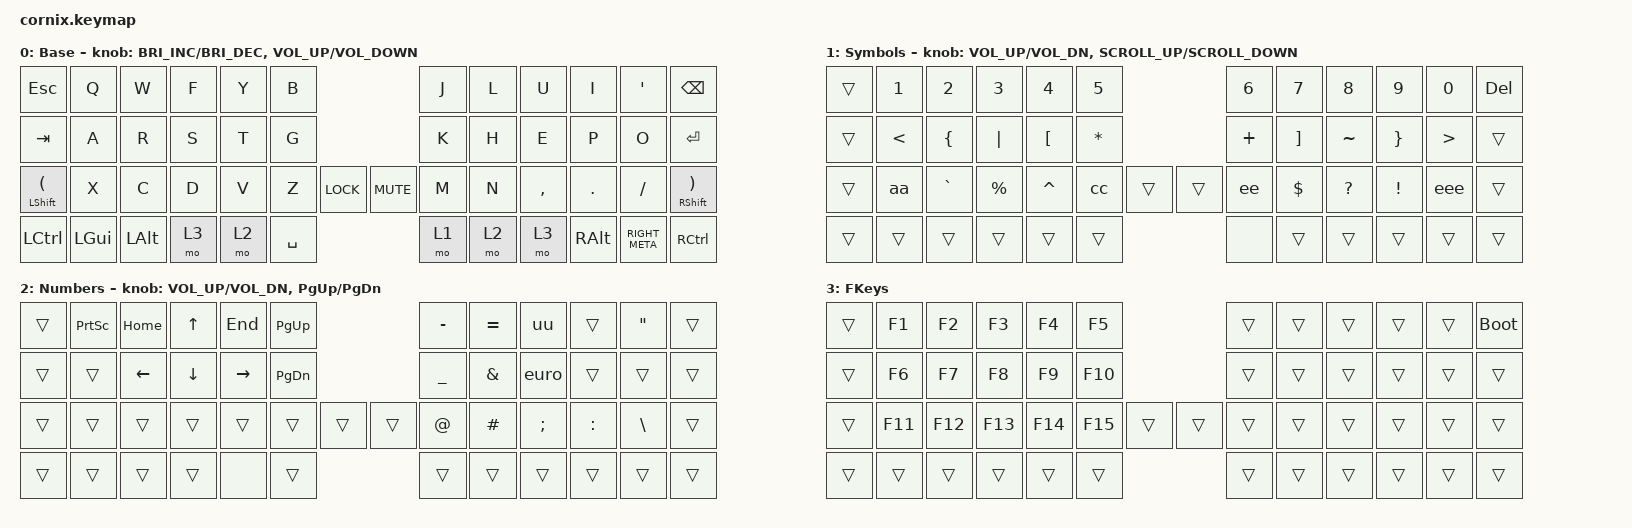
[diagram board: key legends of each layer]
/*
 * Copyright (c) 2020 The ZMK Contributors
 *
 * SPDX-License-Identifier: MIT
 */

#include "zmk-helpers/helper.h"
#include "includes/cornix54.h"

// tap windows for ctl alt and gui

#define HM_TAPPING_TERM 250
#define HM_TAPPING_REPEAT 210

// quick tapping for shift

#define HM_TAPPING_TERM_FAST 200
#define HM_PRIOR_IDLE 70
#define BASE 0
#define WIN 1
#define LOWER 2
#define RAISE 3
#define ADJUST 4
#define NAVI   5
#define NUM    6
#define DEBUG  7

// https://github.com/urob/zmk-config/tree/main#timeless-homerow-mods

#define KEYS_L LT0 LT1 LT2 LT3 LT4 LT5 LM0 LM1 LM2 LM3 LM4 LM5 LB0 LB1 LB2 LB3 LB4 LB5  // left hand
#define KEYS_R RT0 RT1 RT2 RT3 RT4 RT5 RM0 RM1 RM2 RM3 RM4 RM5 RB0 RB1 RB2 RB3 RB4 RB5  // right hand
#define THUMBS LH1 LH0 RH0 RH1
#define KEYS_T LH1 LH0 RH0 RH1
#define ZMK_POINTING_DEFAULT_SCRL_VAL 15

#include <behaviors.dtsi>
#include <dt-bindings/zmk/keys.h>

/ {
    // Activate ADJUST layer by pressing raise and lower

    behaviors {
        // Positional Homerow mods for shift
        // Use faster tapping term and disable some features that may
        // cause false negatives.
        /*
         * Non-Positional Homerow Mods
         * Used for &mm_grescm_gui behavior on left hand.
         *
         * Usage: &hm LSHFT T
         * Tap: T
         * Tap-Tap-Hold: Repeat T
         * Hold: LSHIFT
         */
    };

    conditional_layers { compatible = "zmk,conditional-layers"; };

    combos { compatible = "zmk,combos"; };

    macros {
        aa: aa {
            compatible = "zmk,behavior-macro";
            #binding-cells = <0>;
            bindings =
                <&macro_press>,
                <&kp LEFT_ALT>,
                <&macro_tap>,
                <&kp NUMBER_1 &kp NUMBER_3 &kp NUMBER_3>,
                <&macro_release>,
                <&kp LEFT_ALT>;

            label = "AA";
        };

        cc: cc {
            compatible = "zmk,behavior-macro";
            #binding-cells = <0>;
            bindings =
                <&macro_press>,
                <&kp LEFT_ALT>,
                <&macro_tap>,
                <&kp NUMBER_1 &kp NUMBER_3 &kp N5>,
                <&macro_release>,
                <&kp LEFT_ALT>;

            label = "CC";
        };

        ee: ee {
            compatible = "zmk,behavior-macro";
            #binding-cells = <0>;
            bindings =
                <&macro_press>,
                <&kp LEFT_ALT>,
                <&macro_tap>,
                <&kp NUMBER_1 &kp NUMBER_3 &kp N0>,
                <&macro_release>,
                <&kp LEFT_ALT>;

            label = "EE";
        };

        eee: eee {
            compatible = "zmk,behavior-macro";
            #binding-cells = <0>;
            bindings =
                <&macro_press>,
                <&kp LEFT_ALT>,
                <&macro_tap>,
                <&kp NUMBER_1 &kp NUMBER_3 &kp N8>,
                <&macro_release>,
                <&kp LEFT_ALT>;

            label = "EEE";
        };

        euro: euro {
            compatible = "zmk,behavior-macro";
            #binding-cells = <0>;
            bindings =
                <&macro_press>,
                <&kp LEFT_ALT>,
                <&macro_tap>,
                <&kp N0 &kp NUMBER_1 &kp NUMBER_2 &kp N8>,
                <&macro_release>,
                <&kp LEFT_ALT>;

            label = "EURO";
        };

        uu: uu {
            compatible = "zmk,behavior-macro";
            #binding-cells = <0>;
            bindings =
                <&macro_press>,
                <&kp LEFT_ALT>,
                <&macro_tap>,
                <&kp NUMBER_1 &kp N5 &kp NUMBER_1>,
                <&macro_release>,
                <&kp LEFT_ALT>;

            label = "UU";
        };
    };

    keymap {
        compatible = "zmk,keymap";

        default_layer {
            display-name = "Base";

            // ------------------------------------------------------------------------------------------------------------
            // |   `   |  1  |  2  |  3   |  4   |  5   |                   |  6   |  7    |  8    |  9   |   0   |       |
            // |  ESC  |  Q  |  W  |  E   |  R   |  T   |                   |  Y   |  U    |  I    |  O   |   P   | BKSPC |
            // |  TAB  |  A  |  S  |  D   |  F   |  G   |                   |  H   |  J    |  K    |  L   |   ;   |   '   |
            // | SHIFT |  Z  |  X  |  C   |  V   |  B   |  MUTE  |  |       |  N   |  M    |  ,    |  .   |   /   | SHIFT |
            //               | GUI | ALT  | CTRL | LOWER|  ENTER |  | SPACE | RAISE| CTRL  | ALT   | GUI  |

            bindings = <
&kp ESCAPE                       &kp Q         &kp W         &kp F  &kp Y  &kp B                              &kp J  &kp L  &kp U      &kp I          &kp SQT         &kp BACKSPACE
&kp TAB                          &kp A         &kp R         &kp S  &kp T  &kp G                              &kp K  &kp H  &kp E      &kp P          &kp O           &kp ENTER
&mt LEFT_SHIFT LEFT_PARENTHESIS  &kp X         &kp C         &kp D  &kp V  &kp Z      &kp K_LOCK  &kp K_MUTE  &kp M  &kp N  &kp COMMA  &kp PERIOD     &kp SLASH       &mt RIGHT_SHIFT RIGHT_PARENTHESIS
&kp LEFT_CONTROL                 &kp LEFT_GUI  &kp LEFT_ALT  &mo 3  &mo 2  &kp SPACE                          &mo 1  &mo 2  &mo 3      &kp RIGHT_ALT  &kp RIGHT_META  &kp RCTRL
            >;

            sensor-bindings =
                <&inc_dec_kp C_BRIGHTNESS_INC C_BRIGHTNESS_DEC>,
                <&inc_dec_kp C_VOL_UP C_VOLUME_DOWN>;
        };

        Symbols {
            display-name = "Symbols";

            // TODO: Some binds are waiting for shifted keycode support.
            // -------------------------------
            // |       |  F1 |  F2 |  F3  |  F4  |  F5  |                   |  F6  |  F7   |  F8   |  F9  |  F10  |  F11  |
            // |   `   |  1  |  2  |  3   |  4   |  5   |                   |  6   |  7    |  8    |  9   |   0   |  F12  |
            // |       |  !  |  @  |  #   |  $   |  %   |                   |  ^   |  &    |  *    |  (   |   )   |   |   |
            // |       |  =  |  -  |  +   |  {   |  }   |        |  |       |  [   |  ]    |  ;    |  :   |   \   |       |
            //               |     |      |      |      |        |  |       |      |       |       |      |

            bindings = <
&trans  &kp NUMBER_1   &kp NUMBER_2    &kp NUMBER_3  &kp NUMBER_4      &kp N5                        &kp NUMBER_6  &kp N7             &kp N8        &kp N9           &kp N0            &kp DEL
&trans  &kp LESS_THAN  &kp LEFT_BRACE  &kp PIPE      &kp LEFT_BRACKET  &kp ASTERISK                  &kp PLUS      &kp RIGHT_BRACKET  &kp TILDE     &kp RIGHT_BRACE  &kp GREATER_THAN  &trans
&trans  &aa            &kp GRAVE       &kp PERCENT   &kp CARET         &cc           &trans  &trans  &ee           &kp DOLLAR         &kp QUESTION  &kp EXCLAMATION  &eee              &trans
&trans  &trans         &trans          &trans        &trans            &trans                        &none         &trans             &trans        &trans           &trans            &trans
            >;

            sensor-bindings =
                <&inc_dec_kp C_VOL_UP C_VOL_DN>,
                <&inc_dec_kp K_SCROLL_UP K_SCROLL_DOWN>;
        };

        Numbers {
            display-name = "Numbers";

            // ------------------------------------------------------------------------------------------------------------
            // | BTCLR | BT1  | BT2  |  BT3  |  BT4  |  BT5 |                |      |      |       |      |       |       |
            // |       | INS  | PSCR | GUI   |       |      |                | PGUP |      |   ^   |      |       |       |
            // |       | ALT  | CTRL | SHIFT |       | CAPS |                | PGDN |   <- |   v   |  ->  |  DEL  | BKSPC |
            // |       | UNDO | CUT  | COPY  | PASTE |      |      |  |      |      |      |       |      |       |       |
            //                |      |       |       |      |      |  |      |      |      |       |      |

            bindings = <
&trans  &kp PRINTSCREEN  &kp HOME        &kp UP_ARROW    &kp END          &kp PAGE_UP                    &kp MINUS       &kp EQUAL      &uu            &trans     &kp DOUBLE_QUOTES  &trans
&trans  &trans           &kp LEFT_ARROW  &kp DOWN_ARROW  &kp RIGHT_ARROW  &kp PAGE_DOWN                  &kp UNDERSCORE  &kp AMPERSAND  &euro          &trans     &trans             &trans
&trans  &trans           &trans          &trans          &trans           &trans         &trans  &trans  &kp AT_SIGN     &kp HASH       &kp SEMICOLON  &kp COLON  &kp BACKSLASH      &trans
&trans  &trans           &trans          &trans          &none            &trans                         &trans          &trans         &trans         &trans     &trans             &trans
            >;

            sensor-bindings = <&inc_dec_kp C_VOL_UP C_VOL_DN &inc_dec_kp PG_UP PG_DN>;
        };

        FKeys {
            bindings = <
&trans  &kp F1   &kp F2   &kp F3   &kp F4   &kp F5                   &trans  &trans  &trans  &trans  &trans  &bootloader
&trans  &kp F6   &kp F7   &kp F8   &kp F9   &kp F10                  &trans  &trans  &trans  &trans  &trans  &trans
&trans  &kp F11  &kp F12  &kp F13  &kp F14  &kp F15  &trans  &trans  &trans  &trans  &trans  &trans  &trans  &trans
&trans  &trans   &trans   &trans   &trans   &trans                   &trans  &trans  &trans  &trans  &trans  &trans
            >;
        };
    };
};
